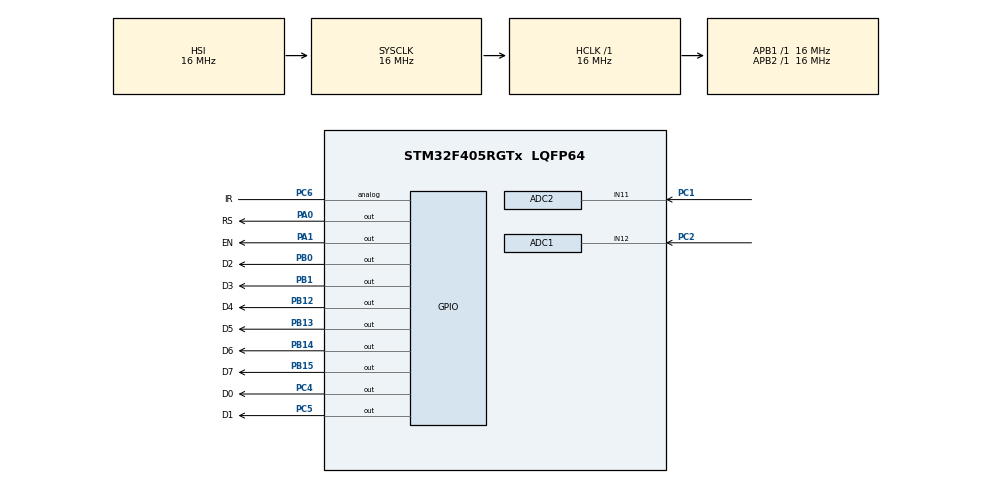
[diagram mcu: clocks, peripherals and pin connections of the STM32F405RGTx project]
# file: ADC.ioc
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ADC1.Channel-0\#ChannelRegularConversion=ADC_CHANNEL_12
ADC1.NbrOfConversionFlag=1
ADC1.Rank-0\#ChannelRegularConversion=1
ADC1.SamplingTime-0\#ChannelRegularConversion=ADC_SAMPLETIME_3CYCLES
ADC1.master=1
ADC2.Channel-0\#ChannelRegularConversion=ADC_CHANNEL_11
ADC2.NbrOfConversionFlag=1
ADC2.Rank-0\#ChannelRegularConversion=1
ADC2.SamplingTime-0\#ChannelRegularConversion=ADC_SAMPLETIME_3CYCLES
Mcu.Family=STM32F4
Mcu.Name=STM32F405RGTx
Mcu.Package=LQFP64
NVIC.PriorityGroup=NVIC_PRIORITYGROUP_4
PA0-WKUP.GPIO_Label=RS
PA0-WKUP.Signal=GPIO_Output
PA1.GPIO_Label=EN
PA1.Signal=GPIO_Output
PA13.Mode=Serial_Wire
PA13.Signal=SYS_JTMS-SWDIO
PA14.Mode=Serial_Wire
PA14.Signal=SYS_JTCK-SWCLK
PB0.GPIO_Label=D2
PB0.Signal=GPIO_Output
PB1.GPIO_Label=D3
PB1.Signal=GPIO_Output
PB12.GPIO_Label=D4
PB12.Signal=GPIO_Output
PB13.GPIO_Label=D5
PB13.Signal=GPIO_Output
PB14.GPIO_Label=D6
PB14.Signal=GPIO_Output
PB15.GPIO_Label=D7
PB15.Signal=GPIO_Output
PC1.Signal=ADCx_IN11
PC14-OSC32_IN.Mode=LSE-External-Oscillator
PC14-OSC32_IN.Signal=RCC_OSC32_IN
PC15-OSC32_OUT.Mode=LSE-External-Oscillator
PC15-OSC32_OUT.Signal=RCC_OSC32_OUT
PC2.Signal=ADCx_IN12
PC4.GPIO_Label=D0
PC4.Signal=GPIO_Output
PC5.GPIO_Label=D1
PC5.Signal=GPIO_Output
PC6.GPIO_Label=IR
PC6.Signal=GPIO_Analog
PH0-OSC_IN.Mode=HSE-External-Oscillator
PH0-OSC_IN.Signal=RCC_OSC_IN
PH1-OSC_OUT.Mode=HSE-External-Oscillator
PH1-OSC_OUT.Signal=RCC_OSC_OUT
ProjectManager.HeapSize=0x200
ProjectManager.StackSize=0x400
ProjectManager.TargetToolchain=STM32CubeIDE
RCC.AHBFreq_Value=16000000
RCC.APB1Freq_Value=16000000
RCC.APB2Freq_Value=16000000
RCC.CortexFreq_Value=16000000
RCC.HSE_VALUE=25000000
RCC.HSI_VALUE=16000000
RCC.SYSCLKFreq_VALUE=16000000
RCC.VCOOutputFreq_Value=192000000
SH.ADCx_IN11.0=ADC2_IN11,IN11
SH.ADCx_IN12.0=ADC1_IN12,IN12
board=custom

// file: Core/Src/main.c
/* USER CODE BEGIN Header */
/**
  ******************************************************************************
  * @file           : main.c
  * @brief          : Main program body
  ******************************************************************************
  * @attention
  *
  * Copyright (c) 2023 STMicroelectronics.
  * All rights reserved.
  *
  * This software is licensed under terms that can be found in the LICENSE file
  * in the root directory of this software component.
  * If no LICENSE file comes with this software, it is provided AS-IS.
  *
  ******************************************************************************
  */
/* USER CODE END Header */
#include "main.h"

 ADC_HandleTypeDef hadc1;
ADC_HandleTypeDef hadc2;

void SystemClock_Config(void);
static void MX_GPIO_Init(void);
static void MX_ADC1_Init(void);
static void MX_ADC2_Init(void);
/* USER CODE BEGIN PFP */
void LCDinit();
void input(unsigned char *x);
void Numericdata(unsigned int a);
void Data(unsigned char z);
void cmd(unsigned char y);
/* USER CODE END PFP */

int main(void)
{
  /* USER CODE BEGIN 1 */
   unsigned int read1;
   unsigned int read2;
  /* USER CODE END 1 */

  /* MCU Configuration--------------------------------------------------------*/

  /* Reset of all peripherals, Initializes the Flash interface and the Systick. */
  HAL_Init();

  /* Configure the system clock */
  SystemClock_Config();

  /* Initialize all configured peripherals */
  MX_GPIO_Init();
  MX_ADC1_Init();
  MX_ADC2_Init();
  /* USER CODE BEGIN 2 */
  LCDinit();
  /* USER CODE END 2 */

  /* Infinite loop */
  /* USER CODE BEGIN WHILE */
  while (1)
  {
	  HAL_ADC_Start(&hadc1);
	  HAL_ADC_PollForConversion(&hadc1,500);
	  read1 = HAL_ADC_GetValue(&hadc1);
	  HAL_ADC_Stop(&hadc1);
	  cmd(0x80);
	  input("ADC VALUE1:");
	  Numericdata(read1);
	  HAL_ADC_Start(&hadc2);
	  HAL_ADC_PollForConversion(&hadc2,500);
	  read2 = HAL_ADC_GetValue(&hadc2);
	  HAL_ADC_Stop(&hadc2);
	  cmd(0xC0);
	  input("ADC VALUE2:");
	  Numericdata(read2);
    /* USER CODE END WHILE */

  }
}

void SystemClock_Config(void)
{
  RCC_OscInitTypeDef RCC_OscInitStruct = {0};
  RCC_ClkInitTypeDef RCC_ClkInitStruct = {0};

  /** Configure the main internal regulator output voltage
  */
  __HAL_RCC_PWR_CLK_ENABLE();
  __HAL_PWR_VOLTAGESCALING_CONFIG(PWR_REGULATOR_VOLTAGE_SCALE1);

  /** Initializes the RCC Oscillators according to the specified parameters
  * in the RCC_OscInitTypeDef structure.
  */
  RCC_OscInitStruct.OscillatorType = RCC_OSCILLATORTYPE_HSI;
  RCC_OscInitStruct.HSIState = RCC_HSI_ON;
  RCC_OscInitStruct.HSICalibrationValue = RCC_HSICALIBRATION_DEFAULT;
  RCC_OscInitStruct.PLL.PLLState = RCC_PLL_NONE;
  if (HAL_RCC_OscConfig(&RCC_OscInitStruct) != HAL_OK)
  {
    Error_Handler();
  }

  /** Initializes the CPU, AHB and APB buses clocks
  */
  RCC_ClkInitStruct.ClockType = RCC_CLOCKTYPE_HCLK|RCC_CLOCKTYPE_SYSCLK
                              |RCC_CLOCKTYPE_PCLK1|RCC_CLOCKTYPE_PCLK2;
  RCC_ClkInitStruct.SYSCLKSource = RCC_SYSCLKSOURCE_HSI;
  RCC_ClkInitStruct.AHBCLKDivider = RCC_SYSCLK_DIV1;
  RCC_ClkInitStruct.APB1CLKDivider = RCC_HCLK_DIV1;
  RCC_ClkInitStruct.APB2CLKDivider = RCC_HCLK_DIV1;

  if (HAL_RCC_ClockConfig(&RCC_ClkInitStruct, FLASH_LATENCY_0) != HAL_OK)
  {
    Error_Handler();
  }
}

static void MX_ADC1_Init(void)
{

  ADC_ChannelConfTypeDef sConfig = {0};

  /** Configure the global features of the ADC (Clock, Resolution, Data Alignment and number of conversion)
  */
  hadc1.Instance = ADC1;
  hadc1.Init.ClockPrescaler = ADC_CLOCK_SYNC_PCLK_DIV2;
  hadc1.Init.Resolution = ADC_RESOLUTION_12B;
  hadc1.Init.ScanConvMode = DISABLE;
  hadc1.Init.ContinuousConvMode = DISABLE;
  hadc1.Init.DiscontinuousConvMode = DISABLE;
  hadc1.Init.ExternalTrigConvEdge = ADC_EXTERNALTRIGCONVEDGE_NONE;
  hadc1.Init.ExternalTrigConv = ADC_SOFTWARE_START;
  hadc1.Init.DataAlign = ADC_DATAALIGN_RIGHT;
  hadc1.Init.NbrOfConversion = 1;
  hadc1.Init.DMAContinuousRequests = DISABLE;
  hadc1.Init.EOCSelection = ADC_EOC_SINGLE_CONV;
  if (HAL_ADC_Init(&hadc1) != HAL_OK)
  {
    Error_Handler();
  }

  /** Configure for the selected ADC regular channel its corresponding rank in the sequencer and its sample time.
  */
  sConfig.Channel = ADC_CHANNEL_12;
  sConfig.Rank = 1;
  sConfig.SamplingTime = ADC_SAMPLETIME_3CYCLES;
  if (HAL_ADC_ConfigChannel(&hadc1, &sConfig) != HAL_OK)
  {
    Error_Handler();
  }

}

static void MX_ADC2_Init(void)
{

  ADC_ChannelConfTypeDef sConfig = {0};

  /** Configure the global features of the ADC (Clock, Resolution, Data Alignment and number of conversion)
  */
  hadc2.Instance = ADC2;
  hadc2.Init.ClockPrescaler = ADC_CLOCK_SYNC_PCLK_DIV2;
  hadc2.Init.Resolution = ADC_RESOLUTION_12B;
  hadc2.Init.ScanConvMode = DISABLE;
  hadc2.Init.ContinuousConvMode = DISABLE;
  hadc2.Init.DiscontinuousConvMode = DISABLE;
  hadc2.Init.ExternalTrigConvEdge = ADC_EXTERNALTRIGCONVEDGE_NONE;
  hadc2.Init.ExternalTrigConv = ADC_SOFTWARE_START;
  hadc2.Init.DataAlign = ADC_DATAALIGN_RIGHT;
  hadc2.Init.NbrOfConversion = 1;
  hadc2.Init.DMAContinuousRequests = DISABLE;
  hadc2.Init.EOCSelection = ADC_EOC_SINGLE_CONV;
  if (HAL_ADC_Init(&hadc2) != HAL_OK)
  {
    Error_Handler();
  }

  /** Configure for the selected ADC regular channel its corresponding rank in the sequencer and its sample time.
  */
  sConfig.Channel = ADC_CHANNEL_11;
  sConfig.Rank = 1;
  sConfig.SamplingTime = ADC_SAMPLETIME_3CYCLES;
  if (HAL_ADC_ConfigChannel(&hadc2, &sConfig) != HAL_OK)
  {
    Error_Handler();
  }

}

static void MX_GPIO_Init(void)
{
  GPIO_InitTypeDef GPIO_InitStruct = {0};

  /* GPIO Ports Clock Enable */
  __HAL_RCC_GPIOC_CLK_ENABLE();
  __HAL_RCC_GPIOH_CLK_ENABLE();
  __HAL_RCC_GPIOA_CLK_ENABLE();
  __HAL_RCC_GPIOB_CLK_ENABLE();

  /*Configure GPIO pin Output Level */
  HAL_GPIO_WritePin(GPIOA, RS_Pin|EN_Pin, GPIO_PIN_RESET);

  /*Configure GPIO pin Output Level */
  HAL_GPIO_WritePin(GPIOC, D0_Pin|D1_Pin, GPIO_PIN_RESET);

  /*Configure GPIO pin Output Level */
  HAL_GPIO_WritePin(GPIOB, D2_Pin|D3_Pin|D4_Pin|D5_Pin
                          |D6_Pin|D7_Pin, GPIO_PIN_RESET);

  /*Configure GPIO pins : RS_Pin EN_Pin */
  GPIO_InitStruct.Pin = RS_Pin|EN_Pin;
  GPIO_InitStruct.Mode = GPIO_MODE_OUTPUT_PP;
  GPIO_InitStruct.Pull = GPIO_NOPULL;
  GPIO_InitStruct.Speed = GPIO_SPEED_FREQ_LOW;
  HAL_GPIO_Init(GPIOA, &GPIO_InitStruct);

  /*Configure GPIO pins : D0_Pin D1_Pin */
  GPIO_InitStruct.Pin = D0_Pin|D1_Pin;
  GPIO_InitStruct.Mode = GPIO_MODE_OUTPUT_PP;
  GPIO_InitStruct.Pull = GPIO_NOPULL;
  GPIO_InitStruct.Speed = GPIO_SPEED_FREQ_LOW;
  HAL_GPIO_Init(GPIOC, &GPIO_InitStruct);

  /*Configure GPIO pins : D2_Pin D3_Pin D4_Pin D5_Pin
                           D6_Pin D7_Pin */
  GPIO_InitStruct.Pin = D2_Pin|D3_Pin|D4_Pin|D5_Pin
                          |D6_Pin|D7_Pin;
  GPIO_InitStruct.Mode = GPIO_MODE_OUTPUT_PP;
  GPIO_InitStruct.Pull = GPIO_NOPULL;
  GPIO_InitStruct.Speed = GPIO_SPEED_FREQ_LOW;
  HAL_GPIO_Init(GPIOB, &GPIO_InitStruct);

  /*Configure GPIO pin : IR_Pin */
  GPIO_InitStruct.Pin = IR_Pin;
  GPIO_InitStruct.Mode = GPIO_MODE_ANALOG;
  GPIO_InitStruct.Pull = GPIO_NOPULL;
  HAL_GPIO_Init(IR_GPIO_Port, &GPIO_InitStruct);

}

/* USER CODE BEGIN 4 */

void LCDinit()
{
    HAL_Delay(10);
    cmd(0x38);
    cmd(0x0E);
    cmd(0x06);
    cmd(0x01);
    cmd(0x0C);
    HAL_Delay(10);

}
void cmd(unsigned char y)
{
	 HAL_GPIO_WritePin(GPIOA, RS_Pin,0);
	 HAL_GPIO_WritePin(GPIOB, D7_Pin,(y & 0x80));
	 HAL_GPIO_WritePin(GPIOB, D6_Pin,(y & 0x40));
	 HAL_GPIO_WritePin(GPIOB, D5_Pin,(y & 0x20));
	 HAL_GPIO_WritePin(GPIOB, D4_Pin,(y & 0x10));
	 HAL_GPIO_WritePin(GPIOB, D3_Pin,(y & 0x08));
	 HAL_GPIO_WritePin(GPIOB, D2_Pin,(y & 0x04));
	 HAL_GPIO_WritePin(GPIOC, D1_Pin,(y & 0x02));
	 HAL_GPIO_WritePin(GPIOC, D0_Pin,(y & 0x01));
	 HAL_GPIO_WritePin(GPIOA, EN_Pin,1);
	 HAL_Delay(20);
	 HAL_GPIO_WritePin(GPIOA, EN_Pin,0);
	 HAL_Delay(20);

}
void Data(unsigned char z)
{
	     HAL_GPIO_WritePin(GPIOA, RS_Pin,1);
		 HAL_GPIO_WritePin(GPIOB, D7_Pin,(z & 0x80));
		 HAL_GPIO_WritePin(GPIOB, D6_Pin,(z & 0x40));
		 HAL_GPIO_WritePin(GPIOB, D5_Pin,(z & 0x20));
		 HAL_GPIO_WritePin(GPIOB, D4_Pin,(z & 0x10));
		 HAL_GPIO_WritePin(GPIOB, D3_Pin,(z & 0x08));
		 HAL_GPIO_WritePin(GPIOB, D2_Pin,(z & 0x04));
		 HAL_GPIO_WritePin(GPIOC, D1_Pin,(z & 0x02));
		 HAL_GPIO_WritePin(GPIOC, D0_Pin,(z & 0x01));
		 HAL_GPIO_WritePin(GPIOA, EN_Pin,1);
		 HAL_Delay(20);
		 HAL_GPIO_WritePin(GPIOA, EN_Pin,0);
		 HAL_Delay(20);
}
void Numericdata(unsigned int a)
{
	Data(((a%10000)/1000)+0x30);
	Data(((a%1000)/100)+0x30);
	Data(((a%100)/10)+0x30);
	Data(((a%10))+0x30);
}
void input(unsigned char *x)
{
	while(*x)
	{
		Data(*x++);
		HAL_Delay(20);
	}
}
/* USER CODE END 4 */

void Error_Handler(void)
{
  __disable_irq();
  while (1)
  {
  }
}
